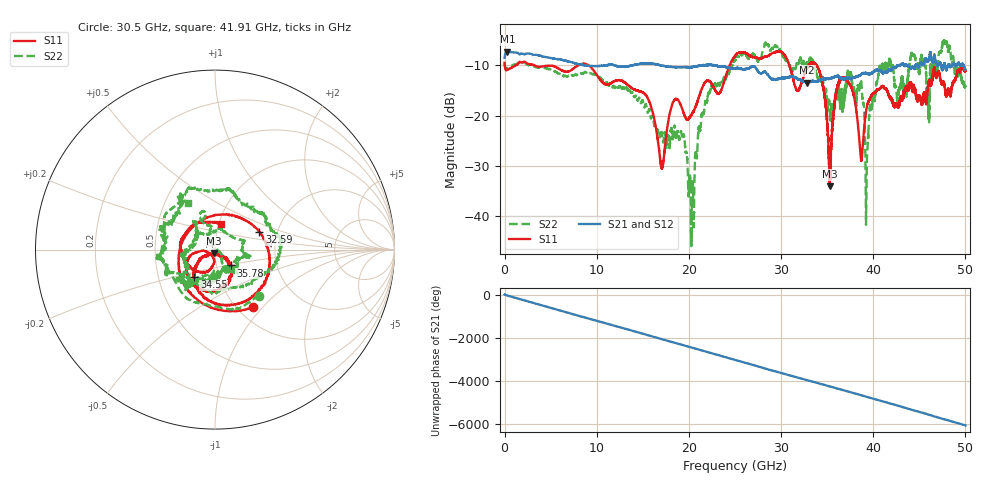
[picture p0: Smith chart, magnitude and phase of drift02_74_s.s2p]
!Created with skrf (http://scikit-rf.org).
# Hz S RI R 50.0
!freq ReS11 ImS11 ReS21 ImS21 ReS12 ImS12 ReS22 ImS22
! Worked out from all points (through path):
!   10001 points, 300 kHz to 50 GHz, reference 50 ohm
!   highest |S21| = -7.32 dB at 310.3 MHz (marker M1); lowest = -13.4 dB at 32.83 GHz (marker M2)
!   group delay of S21, straight-line fit = 335 ps
!   lowest |S11| = -34.1 dB at 35.26 GHz (marker M3), VSWR 1.04, Z = 49.6 - j1.92 ohm
!   |S11| at or under -10 dB: 3.228 GHz to 8.003 GHz (4.775 GHz wide, 85 % of centre); 9.108 GHz to 24.41 GHz (15.31 GHz wide, 91.3 % of centre); 33.83 GHz to end of sweep (the widest 3 of 9)
!   |S22| runs from -45.9 to -5.1 dB; largest |S21 - S12| = 0.014
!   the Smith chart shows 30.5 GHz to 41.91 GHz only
!   S11 on the Smith chart (normalised r, x): 30.5 GHz: 1.18, -0.89; 32.59 GHz: 1.61, +0.34; 34.55 GHz: 0.76, -0.24; 35.78 GHz: 1.17, -0.21; 41.91 GHz: 1.02, +0.30
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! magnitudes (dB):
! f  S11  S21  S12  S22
! 300 kHz  -9.5  -8.5  -8.5  -9.5
! 310.3 MHz  -10.9  -7.3  -7.3  -10.6
! 8.335 GHz  -9.7  -9.9  -9.9  -11.6
! 16.67 GHz  -25.5  -9.9  -9.9  -22.9
! 19.31 GHz  -18.9  -10.4  -10.4  -24.4
! 20.37 GHz  -19.5  -10.4  -10.3  -33.7
! 21.94 GHz  -13.1  -10.0  -10.0  -17.2
! 25 GHz  -8.2  -10.6  -10.6  -9.0
! 30.5 GHz  -8.3  -12.5  -12.4  -9.0
! 32.59 GHz  -11.5  -13.2  -13.3  -10.2
! 32.83 GHz  -10.6  -13.4  -13.6  -9.5
! 33.34 GHz  -9.6  -13.1  -13.2  -8.9
! 34.55 GHz  -14.3  -12.8  -12.7  -12.8
! 35.26 GHz  -34.1  -12.6  -12.6  -18.2
! 35.78 GHz  -18.1  -12.3  -12.3  -17.8
! 37.24 GHz  -13.3  -12.6  -12.6  -11.5
! 38.54 GHz  -25.9  -12.0  -12.0  -14.3
! 39.32 GHz  -18.1  -11.6  -11.7  -28.7
! 41.67 GHz  -15.9  -11.0  -11.0  -9.8
! 41.91 GHz  -16.5  -10.9  -10.9  -10.4
! 47.77 GHz  -14.4  -9.8  -9.8  -5.5
! 50 GHz  -11.1  -10.8  -10.8  -14.0
